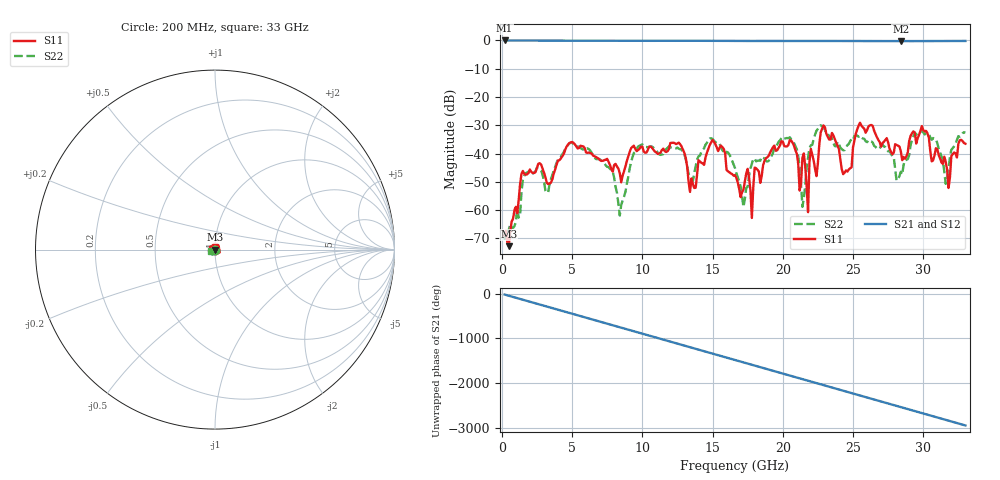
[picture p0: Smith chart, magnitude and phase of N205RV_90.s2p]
# GHZ S RI R 50
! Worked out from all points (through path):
!   329 points, 200 MHz to 33 GHz, reference 50 ohm
!   highest |S21| = -0.02 dB at 200 MHz (marker M1); lowest = -0.3 dB at 28.4 GHz (marker M2)
!   group delay of S21, straight-line fit = 248 ps
!   lowest |S11| = -72.7 dB at 500 MHz (marker M3), VSWR 1.00, Z = 50 + j0.00575 ohm
!   |S11| at or under -10 dB: start of sweep to end of sweep
!   |S22| runs from -70.5 to -30.0 dB; largest |S21 - S12| = 0.0019
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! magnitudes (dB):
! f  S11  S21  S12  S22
! 200 MHz  -68.9  0.0  0.0  -70.5
! 500 MHz  -72.7  0.0  0.0  -67.0
! 1.5 GHz  -46.2  -0.1  -0.1  -49.3
! 5.7 GHz  -37.4  -0.1  -0.1  -38.4
! 8.4 GHz  -47.0  -0.1  -0.1  -61.9
! 9.4 GHz  -37.2  -0.1  -0.1  -39.8
! 11.2 GHz  -40.0  -0.1  -0.1  -40.3
! 16.6 GHz  -47.6  -0.2  -0.2  -45.1
! 17.2 GHz  -52.8  -0.2  -0.2  -58.9
! 17.5 GHz  -45.4  -0.2  -0.2  -51.8
! 17.8 GHz  -62.8  -0.2  -0.2  -43.5
! 18 GHz  -45.0  -0.2  -0.2  -41.8
! 20.5 GHz  -35.2  -0.2  -0.2  -34.3
! 21.2 GHz  -53.1  -0.2  -0.2  -44.6
! 21.4 GHz  -41.5  -0.2  -0.2  -58.8
! 21.8 GHz  -60.7  -0.2  -0.2  -41.5
! 22.1 GHz  -40.5  -0.2  -0.2  -36.9
! 27.6 GHz  -38.3  -0.3  -0.3  -39.0
! 28.4 GHz  -39.1  -0.3  -0.3  -46.4
! 29.9 GHz  -30.3  -0.2  -0.2  -31.9
! 31.8 GHz  -52.2  -0.2  -0.2  -46.4
! 33 GHz  -36.5  -0.2  -0.2  -32.6
